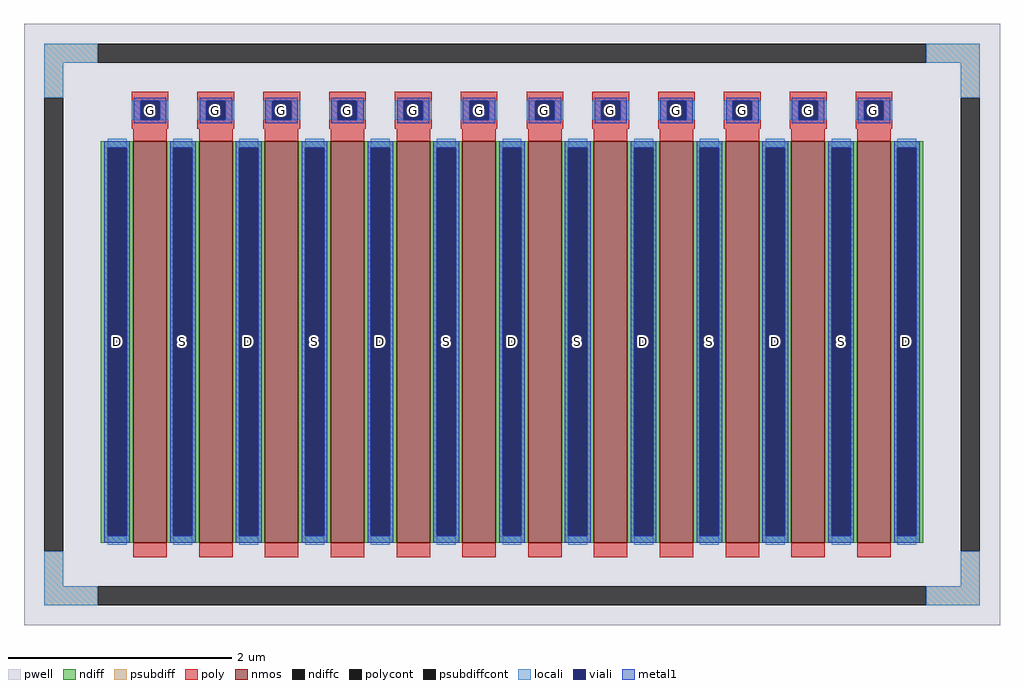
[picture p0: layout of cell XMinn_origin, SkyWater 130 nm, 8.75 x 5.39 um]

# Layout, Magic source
magic
tech sky130A
magscale 1 2
<< pwell >>
rect -875 -539 875 539
<< nmos >>
rect -679 -391 -619 329
rect -561 -391 -501 329
rect -443 -391 -383 329
rect -325 -391 -265 329
rect -207 -391 -147 329
rect -89 -391 -29 329
rect 29 -391 89 329
rect 147 -391 207 329
rect 265 -391 325 329
rect 383 -391 443 329
rect 501 -391 561 329
rect 619 -391 679 329
<< ndiff >>
rect -737 317 -679 329
rect -737 -379 -725 317
rect -691 -379 -679 317
rect -737 -391 -679 -379
rect -619 317 -561 329
rect -619 -379 -607 317
rect -573 -379 -561 317
rect -619 -391 -561 -379
rect -501 317 -443 329
rect -501 -379 -489 317
rect -455 -379 -443 317
rect -501 -391 -443 -379
rect -383 317 -325 329
rect -383 -379 -371 317
rect -337 -379 -325 317
rect -383 -391 -325 -379
rect -265 317 -207 329
rect -265 -379 -253 317
rect -219 -379 -207 317
rect -265 -391 -207 -379
rect -147 317 -89 329
rect -147 -379 -135 317
rect -101 -379 -89 317
rect -147 -391 -89 -379
rect -29 317 29 329
rect -29 -379 -17 317
rect 17 -379 29 317
rect -29 -391 29 -379
rect 89 317 147 329
rect 89 -379 101 317
rect 135 -379 147 317
rect 89 -391 147 -379
rect 207 317 265 329
rect 207 -379 219 317
rect 253 -379 265 317
rect 207 -391 265 -379
rect 325 317 383 329
rect 325 -379 337 317
rect 371 -379 383 317
rect 325 -391 383 -379
rect 443 317 501 329
rect 443 -379 455 317
rect 489 -379 501 317
rect 443 -391 501 -379
rect 561 317 619 329
rect 561 -379 573 317
rect 607 -379 619 317
rect 561 -391 619 -379
rect 679 317 737 329
rect 679 -379 691 317
rect 725 -379 737 317
rect 679 -391 737 -379
<< ndiffc >>
rect -725 -379 -691 317
rect -607 -379 -573 317
rect -489 -379 -455 317
rect -371 -379 -337 317
rect -253 -379 -219 317
rect -135 -379 -101 317
rect -17 -379 17 317
rect 101 -379 135 317
rect 219 -379 253 317
rect 337 -379 371 317
rect 455 -379 489 317
rect 573 -379 607 317
rect 691 -379 725 317
<< psubdiff >>
rect -839 469 -743 503
rect 743 469 839 503
rect -839 407 -805 469
rect 805 407 839 469
rect -839 -469 -805 -407
rect 805 -469 839 -407
rect -839 -503 -743 -469
rect 743 -503 839 -469
<< psubdiffcont >>
rect -743 469 743 503
rect -839 -407 -805 407
rect 805 -407 839 407
rect -743 -503 743 -469
<< poly >>
rect -682 401 -616 417
rect -682 367 -666 401
rect -632 367 -616 401
rect -682 351 -616 367
rect -564 401 -498 417
rect -564 367 -548 401
rect -514 367 -498 401
rect -564 351 -498 367
rect -446 401 -380 417
rect -446 367 -430 401
rect -396 367 -380 401
rect -446 351 -380 367
rect -328 401 -262 417
rect -328 367 -312 401
rect -278 367 -262 401
rect -328 351 -262 367
rect -210 401 -144 417
rect -210 367 -194 401
rect -160 367 -144 401
rect -210 351 -144 367
rect -92 401 -26 417
rect -92 367 -76 401
rect -42 367 -26 401
rect -92 351 -26 367
rect 26 401 92 417
rect 26 367 42 401
rect 76 367 92 401
rect 26 351 92 367
rect 144 401 210 417
rect 144 367 160 401
rect 194 367 210 401
rect 144 351 210 367
rect 262 401 328 417
rect 262 367 278 401
rect 312 367 328 401
rect 262 351 328 367
rect 380 401 446 417
rect 380 367 396 401
rect 430 367 446 401
rect 380 351 446 367
rect 498 401 564 417
rect 498 367 514 401
rect 548 367 564 401
rect 498 351 564 367
rect 616 401 682 417
rect 616 367 632 401
rect 666 367 682 401
rect 616 351 682 367
rect -679 329 -619 351
rect -561 329 -501 351
rect -443 329 -383 351
rect -325 329 -265 351
rect -207 329 -147 351
rect -89 329 -29 351
rect 29 329 89 351
rect 147 329 207 351
rect 265 329 325 351
rect 383 329 443 351
rect 501 329 561 351
rect 619 329 679 351
rect -679 -417 -619 -391
rect -561 -417 -501 -391
rect -443 -417 -383 -391
rect -325 -417 -265 -391
rect -207 -417 -147 -391
rect -89 -417 -29 -391
rect 29 -417 89 -391
rect 147 -417 207 -391
rect 265 -417 325 -391
rect 383 -417 443 -391
rect 501 -417 561 -391
rect 619 -417 679 -391
<< polycont >>
rect -666 367 -632 401
rect -548 367 -514 401
rect -430 367 -396 401
rect -312 367 -278 401
rect -194 367 -160 401
rect -76 367 -42 401
rect 42 367 76 401
rect 160 367 194 401
rect 278 367 312 401
rect 396 367 430 401
rect 514 367 548 401
rect 632 367 666 401
<< locali >>
rect -839 469 -743 503
rect 743 469 839 503
rect -839 407 -805 469
rect 805 407 839 469
rect -682 367 -666 401
rect -632 367 -616 401
rect -564 367 -548 401
rect -514 367 -498 401
rect -446 367 -430 401
rect -396 367 -380 401
rect -328 367 -312 401
rect -278 367 -262 401
rect -210 367 -194 401
rect -160 367 -144 401
rect -92 367 -76 401
rect -42 367 -26 401
rect 26 367 42 401
rect 76 367 92 401
rect 144 367 160 401
rect 194 367 210 401
rect 262 367 278 401
rect 312 367 328 401
rect 380 367 396 401
rect 430 367 446 401
rect 498 367 514 401
rect 548 367 564 401
rect 616 367 632 401
rect 666 367 682 401
rect -725 317 -691 333
rect -725 -395 -691 -379
rect -607 317 -573 333
rect -607 -395 -573 -379
rect -489 317 -455 333
rect -489 -395 -455 -379
rect -371 317 -337 333
rect -371 -395 -337 -379
rect -253 317 -219 333
rect -253 -395 -219 -379
rect -135 317 -101 333
rect -135 -395 -101 -379
rect -17 317 17 333
rect -17 -395 17 -379
rect 101 317 135 333
rect 101 -395 135 -379
rect 219 317 253 333
rect 219 -395 253 -379
rect 337 317 371 333
rect 337 -395 371 -379
rect 455 317 489 333
rect 455 -395 489 -379
rect 573 317 607 333
rect 573 -395 607 -379
rect 691 317 725 333
rect 691 -395 725 -379
rect -839 -469 -805 -407
rect 805 -469 839 -407
rect -839 -503 -743 -469
rect 743 -503 839 -469
<< viali >>
rect -666 367 -632 401
rect -548 367 -514 401
rect -430 367 -396 401
rect -312 367 -278 401
rect -194 367 -160 401
rect -76 367 -42 401
rect 42 367 76 401
rect 160 367 194 401
rect 278 367 312 401
rect 396 367 430 401
rect 514 367 548 401
rect 632 367 666 401
rect -725 -379 -691 317
rect -607 -379 -573 317
rect -489 -379 -455 317
rect -371 -379 -337 317
rect -253 -379 -219 317
rect -135 -379 -101 317
rect -17 -379 17 317
rect 101 -379 135 317
rect 219 -379 253 317
rect 337 -379 371 317
rect 455 -379 489 317
rect 573 -379 607 317
rect 691 -379 725 317
<< metal1 >>
rect -678 401 -620 407
rect -678 367 -666 401
rect -632 367 -620 401
rect -678 361 -620 367
rect -560 401 -502 407
rect -560 367 -548 401
rect -514 367 -502 401
rect -560 361 -502 367
rect -442 401 -384 407
rect -442 367 -430 401
rect -396 367 -384 401
rect -442 361 -384 367
rect -324 401 -266 407
rect -324 367 -312 401
rect -278 367 -266 401
rect -324 361 -266 367
rect -206 401 -148 407
rect -206 367 -194 401
rect -160 367 -148 401
rect -206 361 -148 367
rect -88 401 -30 407
rect -88 367 -76 401
rect -42 367 -30 401
rect -88 361 -30 367
rect 30 401 88 407
rect 30 367 42 401
rect 76 367 88 401
rect 30 361 88 367
rect 148 401 206 407
rect 148 367 160 401
rect 194 367 206 401
rect 148 361 206 367
rect 266 401 324 407
rect 266 367 278 401
rect 312 367 324 401
rect 266 361 324 367
rect 384 401 442 407
rect 384 367 396 401
rect 430 367 442 401
rect 384 361 442 367
rect 502 401 560 407
rect 502 367 514 401
rect 548 367 560 401
rect 502 361 560 367
rect 620 401 678 407
rect 620 367 632 401
rect 666 367 678 401
rect 620 361 678 367
rect -731 317 -685 329
rect -731 -379 -725 317
rect -691 -379 -685 317
rect -731 -391 -685 -379
rect -613 317 -567 329
rect -613 -379 -607 317
rect -573 -379 -567 317
rect -613 -391 -567 -379
rect -495 317 -449 329
rect -495 -379 -489 317
rect -455 -379 -449 317
rect -495 -391 -449 -379
rect -377 317 -331 329
rect -377 -379 -371 317
rect -337 -379 -331 317
rect -377 -391 -331 -379
rect -259 317 -213 329
rect -259 -379 -253 317
rect -219 -379 -213 317
rect -259 -391 -213 -379
rect -141 317 -95 329
rect -141 -379 -135 317
rect -101 -379 -95 317
rect -141 -391 -95 -379
rect -23 317 23 329
rect -23 -379 -17 317
rect 17 -379 23 317
rect -23 -391 23 -379
rect 95 317 141 329
rect 95 -379 101 317
rect 135 -379 141 317
rect 95 -391 141 -379
rect 213 317 259 329
rect 213 -379 219 317
rect 253 -379 259 317
rect 213 -391 259 -379
rect 331 317 377 329
rect 331 -379 337 317
rect 371 -379 377 317
rect 331 -391 377 -379
rect 449 317 495 329
rect 449 -379 455 317
rect 489 -379 495 317
rect 449 -391 495 -379
rect 567 317 613 329
rect 567 -379 573 317
rect 607 -379 613 317
rect 567 -391 613 -379
rect 685 317 731 329
rect 685 -379 691 317
rect 725 -379 731 317
rect 685 -391 731 -379
<< labels >>
flabel metal1 -649 384 -649 384 0 FreeSans 240 0 0 0 G
flabel metal1 -531 384 -531 384 0 FreeSans 240 0 0 0 G
flabel metal1 -413 384 -413 384 0 FreeSans 240 0 0 0 G
flabel metal1 -295 384 -295 384 0 FreeSans 240 0 0 0 G
flabel metal1 -177 384 -177 384 0 FreeSans 240 0 0 0 G
flabel metal1 -59 384 -59 384 0 FreeSans 240 0 0 0 G
flabel metal1 59 384 59 384 0 FreeSans 240 0 0 0 G
flabel metal1 177 384 177 384 0 FreeSans 240 0 0 0 G
flabel metal1 295 384 295 384 0 FreeSans 240 0 0 0 G
flabel metal1 413 384 413 384 0 FreeSans 240 0 0 0 G
flabel metal1 531 384 531 384 0 FreeSans 240 0 0 0 G
flabel metal1 649 384 649 384 0 FreeSans 240 0 0 0 G
flabel metal1 -708 -31 -708 -31 0 FreeSans 240 0 0 0 D
flabel metal1 -590 -31 -590 -31 0 FreeSans 240 0 0 0 S
flabel metal1 -472 -31 -472 -31 0 FreeSans 240 0 0 0 D
flabel metal1 -354 -31 -354 -31 0 FreeSans 240 0 0 0 S
flabel metal1 -236 -31 -236 -31 0 FreeSans 240 0 0 0 D
flabel metal1 -118 -31 -118 -31 0 FreeSans 240 0 0 0 S
flabel metal1 0 -31 0 -31 0 FreeSans 240 0 0 0 D
flabel metal1 118 -31 118 -31 0 FreeSans 240 0 0 0 S
flabel metal1 236 -31 236 -31 0 FreeSans 240 0 0 0 D
flabel metal1 354 -31 354 -31 0 FreeSans 240 0 0 0 S
flabel metal1 472 -31 472 -31 0 FreeSans 240 0 0 0 D
flabel metal1 590 -31 590 -31 0 FreeSans 240 0 0 0 S
flabel metal1 708 -31 708 -31 0 FreeSans 240 0 0 0 D
<< properties >>
string FIXED_BBOX -822 -486 822 486
<< end >>
